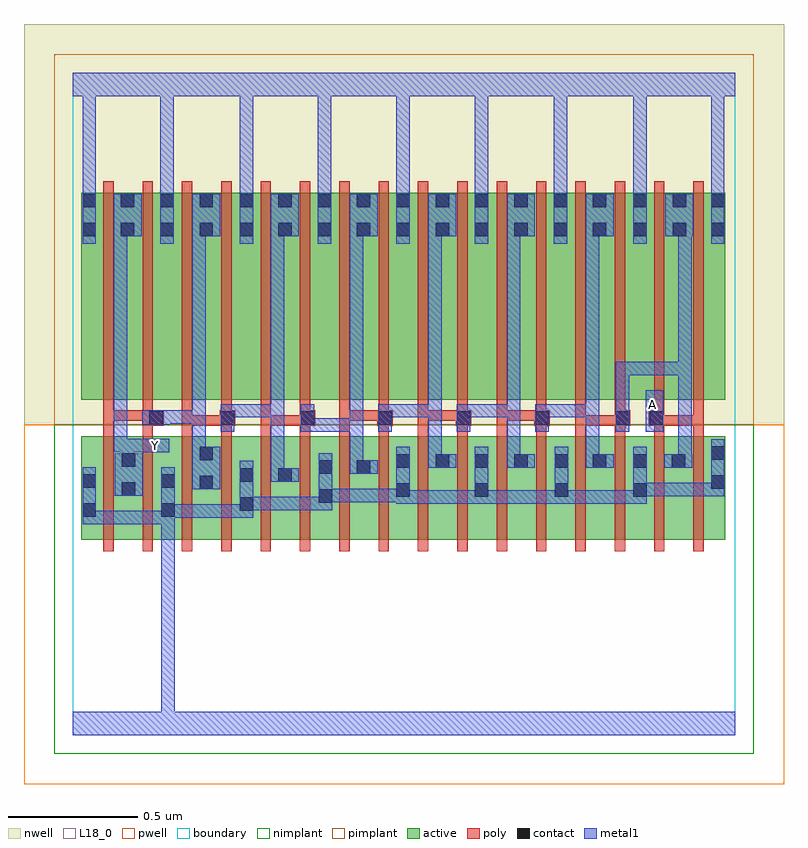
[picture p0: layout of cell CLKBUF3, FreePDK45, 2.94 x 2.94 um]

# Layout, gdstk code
import gdstk
lib = gdstk.Library(unit=1e-6, precision=1e-09)
def R(c, l, rs):  # rectangles x0, y0, x1, y1
    for r in rs: c.add(gdstk.rectangle(r[:2], r[2:], *l))
def A(c, l, x, y, w, h, nx, ny, dx, dy):  # array of equal rectangles
    R(c, l, [(x+i*dx, y+j*dy, x+i*dx+w, y+j*dy+h) for i in range(nx) for j in range(ny)])
active = (1, 0)
pwell = (2, 0)
nwell = (3, 0)
nimplant = (4, 0)
pimplant = (5, 0)
poly = (9, 0)
contact = (10, 0)
metal1 = (11, 0)
L18_0 = (18, 0)
boundary = (235, 0)

clkbuf3 = lib.new_cell('CLKBUF3')
A(clkbuf3, active, 0.034, 0.756, 0.06, 0.4, 3, 1, 0.152, 0)
A(clkbuf3, active, 0.338, 0.756, 0.208, 0.4, 3, 1, 0.304, 0)
A(clkbuf3, active, 1.094, 0.756, 0.06, 0.4, 5, 1, 0.152, 0)
A(clkbuf3, active, 1.094, 0.756, 0.212, 0.4, 4, 1, 0.152, 0)
A(clkbuf3, active, 0.79, 1.296, 0.212, 0.8, 8, 1, 0.152, 0)
A(clkbuf3, active, 0.182, 1.686, 0.06, 0.41, 3, 1, 0.152, 0)
A(clkbuf3, active, 0.79, 1.686, 0.06, 0.41, 9, 1, 0.152, 0)
R(clkbuf3, active, [(0.034,0.756,0.246,1.156), (0.186,0.756,0.398,1.156), (0.486,0.756,0.546,1.156), (0.486,0.756,0.702,1.156), (0.642,0.756,0.702,1.156), (0.79,0.756,0.85,1.156), (0.79,0.756,1.006,1.156), (0.946,0.756,1.006,1.156), (1.702,0.756,1.918,1.156), (1.858,0.756,1.918,1.156), (1.858,0.756,2.066,1.156), (2.006,0.756,2.066,1.156), (2.006,0.756,2.222,1.156), (2.162,0.756,2.222,1.156), (2.162,0.756,2.37,1.156), (2.31,0.756,2.37,1.156), (2.31,0.756,2.522,1.156), (2.462,0.756,2.522,1.156), (0.034,1.296,0.094,2.096), (0.034,1.296,0.242,2.096), (0.182,1.296,0.394,2.096), (0.334,1.296,0.546,2.096), (0.486,1.296,0.702,2.096), (0.642,1.296,0.85,2.096), (2.006,1.296,2.222,2.096), (2.162,1.296,2.374,2.096), (2.314,1.296,2.522,2.096), (2.462,1.296,2.522,2.096), (0.642,1.686,0.702,2.096), (2.162,1.686,2.222,2.096), (2.314,1.686,2.374,2.096)])
R(clkbuf3, pwell, [(-0.188,-0.188,2.748,1.2)])
R(clkbuf3, nwell, [(-0.188,1.2,2.748,2.748)])
R(clkbuf3, nimplant, [(-0.072,-0.072,2.632,1.2)])
R(clkbuf3, pimplant, [(-0.072,1.2,2.632,2.632)])
A(clkbuf3, poly, 0.118, 0.712, 0.04, 0.488, 16, 1, 0.152, 0)
A(clkbuf3, poly, 0.27, 1.16, 0.04, 0.076, 5, 1, 0.152, 0)
A(clkbuf3, poly, 1.03, 1.16, 0.04, 0.096, 3, 1, 0.304, 0)
A(clkbuf3, poly, 1.182, 1.16, 0.04, 0.076, 3, 1, 0.304, 0)
A(clkbuf3, poly, 1.942, 1.16, 0.04, 0.076, 4, 1, 0.152, 0)
A(clkbuf3, poly, 1.176, 1.196, 0.06, 0.06, 3, 1, 0.304, 0)
A(clkbuf3, poly, 0.27, 1.216, 0.04, 0.076, 3, 1, 0.304, 0)
A(clkbuf3, poly, 1.03, 1.216, 0.04, 0.076, 6, 1, 0.152, 0)
A(clkbuf3, poly, 1.03, 1.216, 0.186, 0.04, 3, 1, 0.304, 0)
A(clkbuf3, poly, 0.118, 1.252, 0.04, 0.888, 16, 1, 0.152, 0)
R(clkbuf3, poly, [(0.118,1.16,0.158,1.256), (0.27,1.196,0.31,1.236), (0.27,1.196,0.31,1.236), (0.27,1.196,0.352,1.256), (0.422,1.196,0.462,1.292), (0.422,1.196,0.462,1.236), (0.422,1.196,0.462,1.236), (0.422,1.196,0.462,1.236), (0.422,1.196,0.462,1.236), (0.422,1.196,0.462,1.236), (0.422,1.196,0.608,1.236), (0.568,1.196,0.628,1.256), (0.726,1.196,0.766,1.292), (0.726,1.196,0.766,1.236), (0.726,1.196,0.766,1.236), (0.726,1.196,0.766,1.236), (0.726,1.196,0.766,1.236), (0.726,1.196,0.766,1.236), (0.726,1.196,0.918,1.236), (0.878,1.196,0.918,1.236), (0.878,1.196,0.918,1.236), (0.878,1.196,0.938,1.256), (1.942,1.196,1.982,1.292), (1.942,1.196,1.982,1.236), (1.942,1.196,1.982,1.236), (1.942,1.196,1.982,1.236), (1.942,1.196,2.134,1.236), (2.094,1.196,2.134,1.236), (2.094,1.196,2.134,1.236), (2.094,1.196,2.134,1.236), (2.094,1.196,2.134,1.236), (2.094,1.196,2.154,1.256), (2.226,1.196,2.286,1.256), (2.246,1.196,2.286,1.236), (2.246,1.196,2.286,1.236), (2.246,1.196,2.438,1.236), (2.398,1.196,2.438,1.292), (2.398,1.196,2.438,1.236), (2.398,1.196,2.438,1.236), (2.398,1.196,2.438,1.236), (0.118,1.216,0.158,1.256), (0.118,1.216,0.158,1.256), (0.118,1.216,0.158,1.256), (0.118,1.216,0.158,1.256), (0.118,1.216,0.158,1.256), (0.118,1.216,0.158,1.292), (0.118,1.216,0.31,1.256), (0.574,1.216,0.614,1.256), (0.574,1.216,0.614,1.256), (1.03,1.216,1.07,1.256), (1.03,1.216,1.07,1.256), (1.03,1.216,1.07,1.256), (1.176,1.216,1.216,1.256), (1.176,1.216,1.216,1.256), (1.182,1.216,1.222,1.256), (1.182,1.216,1.222,1.256), (1.334,1.216,1.374,1.256), (1.334,1.216,1.374,1.256), (1.334,1.216,1.374,1.256), (1.334,1.216,1.374,1.256), (1.334,1.216,1.374,1.256), (1.486,1.216,1.526,1.256), (1.486,1.216,1.526,1.256), (1.638,1.216,1.678,1.256), (1.638,1.216,1.678,1.256), (1.638,1.216,1.678,1.256), (1.784,1.216,1.824,1.256), (1.784,1.216,1.824,1.256), (1.79,1.216,1.83,1.256), (1.79,1.216,1.83,1.256), (2.094,1.216,2.134,1.292), (2.246,1.216,2.286,1.256), (2.246,1.216,2.286,1.256), (2.246,1.216,2.286,1.292)])
A(clkbuf3, contact, 1.25, 1.034, 0.052, 0.052, 4, 1, 0.152, 0)
A(clkbuf3, contact, 1.18, 1.2, 0.052, 0.052, 3, 1, 0.304, 0)
A(clkbuf3, contact, 0.186, 1.928, 0.052, 0.052, 3, 2, 0.152, 0.112)
A(clkbuf3, contact, 0.794, 1.928, 0.052, 0.052, 9, 2, 0.152, 0.112)
R(clkbuf3, contact, [(0.038,0.844,0.09,0.896), (0.342,0.844,0.394,0.896), (0.646,0.868,0.698,0.92), (0.95,0.898,1.002,0.95), (1.25,0.922,1.302,0.974), (1.554,0.922,1.606,0.974), (1.862,0.922,1.914,0.974), (2.166,0.922,2.218,0.974), (0.19,0.926,0.242,0.978), (0.49,0.95,0.542,1.002), (2.466,0.952,2.518,1.004), (0.038,0.956,0.09,1.008), (0.342,0.956,0.394,1.008), (0.646,0.98,0.698,1.032), (0.794,0.98,0.846,1.032), (0.95,1.01,1.002,1.062), (1.098,1.01,1.15,1.062), (1.862,1.034,1.914,1.086), (2.01,1.034,2.062,1.086), (2.166,1.034,2.218,1.086), (2.314,1.034,2.366,1.086), (0.19,1.038,0.242,1.09), (0.49,1.062,0.542,1.114), (2.466,1.064,2.518,1.116), (0.296,1.2,0.348,1.252), (0.572,1.2,0.624,1.252), (0.882,1.2,0.934,1.252), (2.098,1.2,2.15,1.252), (2.23,1.2,2.282,1.252), (0.038,1.928,0.09,1.98), (0.646,1.928,0.698,1.98), (2.166,1.928,2.218,1.98), (2.318,1.928,2.37,1.98), (2.466,1.928,2.518,1.98), (0.038,2.04,0.09,2.092), (0.646,2.04,0.698,2.092), (2.166,2.04,2.218,2.092), (2.318,2.04,2.37,2.092), (2.466,2.04,2.518,2.092)])
A(clkbuf3, metal1, 1.374, 1.034, 0.108, 0.052, 4, 1, 0.304, 0)
A(clkbuf3, metal1, 1.374, 1.034, 0.052, 0.246, 3, 1, 0.304, 0)
A(clkbuf3, metal1, 1.18, 1.172, 0.052, 0.108, 3, 1, 0.304, 0)
A(clkbuf3, metal1, 1.18, 1.228, 0.246, 0.052, 3, 1, 0.304, 0)
A(clkbuf3, metal1, 1.374, 1.228, 0.052, 0.752, 3, 1, 0.304, 0)
A(clkbuf3, metal1, 0.946, 1.9, 0.052, 0.22, 4, 1, 0.304, 0)
A(clkbuf3, metal1, 0.158, 1.928, 0.108, 0.164, 7, 1, 0.304, 0)
A(clkbuf3, metal1, 0.946, 2.068, 0.052, 0.452, 4, 1, 0.304, 0)
R(clkbuf3, metal1, [(0,0,2.56,0.092), (0.342,0.04,0.394,0.092), (0.342,0.04,0.394,0.092), (0.342,0.04,0.394,0.092), (0.342,0.04,0.394,0.092), (0.342,0.04,0.394,0.092), (0.342,0.04,0.394,0.092), (0.342,0.04,0.394,0.092), (0.342,0.04,0.394,0.092), (0.342,0.04,0.394,0.092), (0.342,0.04,0.394,0.092), (0.342,0.04,0.394,0.092), (0.342,0.04,0.394,0.092), (0.342,0.04,0.394,0.868), (0.038,0.816,0.09,0.868), (0.038,0.816,0.09,0.868), (0.038,0.816,0.09,1.036), (0.038,0.816,0.2,0.868), (0.148,0.816,0.2,0.868), (0.148,0.816,0.2,0.868), (0.148,0.816,0.2,0.868), (0.148,0.816,0.394,0.868), (0.342,0.816,0.394,1.036), (0.342,0.84,0.504,0.892), (0.452,0.84,0.504,0.892), (0.452,0.84,0.504,0.892), (0.452,0.84,0.504,0.892), (0.452,0.84,0.698,0.892), (0.646,0.84,0.698,0.892), (0.646,0.84,0.698,0.892), (0.646,0.84,0.698,1.06), (0.646,0.87,0.808,0.922), (0.756,0.87,0.808,0.922), (0.756,0.87,0.808,0.922), (0.756,0.87,0.808,0.922), (0.756,0.87,1.002,0.922), (0.95,0.87,1.002,0.922), (0.95,0.87,1.002,0.922), (0.95,0.87,1.002,1.09), (1.25,0.894,1.302,1.114), (1.25,0.894,1.412,0.946), (1.36,0.894,1.412,0.946), (1.36,0.894,1.412,0.946), (1.36,0.894,1.412,0.946), (1.36,0.894,1.606,0.946), (1.554,0.894,1.606,0.946), (1.554,0.894,1.606,0.946), (1.554,0.894,1.606,1.114), (1.554,0.894,1.73,0.946), (1.678,0.894,1.73,0.946), (1.678,0.894,1.73,0.946), (1.678,0.894,1.73,0.946), (1.678,0.894,1.914,0.946), (1.862,0.894,1.914,0.946), (1.862,0.894,1.914,0.946), (1.862,0.894,1.914,1.114), (1.862,0.894,2.024,0.946), (1.972,0.894,2.024,0.946), (1.972,0.894,2.024,0.946), (1.972,0.894,2.024,0.946), (1.972,0.894,2.156,0.946), (2.104,0.894,2.156,0.946), (2.104,0.894,2.218,0.946), (2.166,0.894,2.218,1.114), (0.95,0.9,1.112,0.952), (1.06,0.9,1.112,0.952), (1.06,0.9,1.112,0.952), (1.06,0.9,1.112,0.952), (1.06,0.9,1.302,0.952), (1.25,0.9,1.302,0.952), (1.25,0.9,1.302,0.952), (2.166,0.924,2.408,0.976), (2.356,0.924,2.408,0.976), (2.356,0.924,2.408,0.976), (2.356,0.924,2.408,0.976), (2.356,0.924,2.518,0.976), (2.466,0.924,2.518,0.976), (2.466,0.924,2.518,0.976), (2.466,0.924,2.518,1.144), (0.162,0.926,0.27,1.09), (0.462,0.95,0.57,1.114), (0.766,0.98,0.874,1.032), (0.766,0.98,0.818,1.28), (1.07,1.01,1.122,1.062), (1.07,1.01,1.122,1.062), (1.07,1.01,1.178,1.062), (1.07,1.01,1.122,1.224), (2.34,1.034,2.392,1.086), (2.34,1.034,2.392,1.086), (2.34,1.034,2.392,1.444), (0.184,1.038,0.236,1.146), (0.462,1.062,0.514,1.256), (0.158,1.094,0.21,1.146), (0.158,1.094,0.21,1.146), (0.158,1.094,0.21,1.98), (0.158,1.094,0.374,1.146), (0.572,1.172,0.624,1.28), (0.882,1.172,0.934,1.224), (0.882,1.172,0.934,1.224), (0.882,1.172,0.934,1.28), (0.882,1.172,1.122,1.224), (1.07,1.172,1.122,1.224), (1.07,1.172,1.122,1.224), (1.07,1.172,1.122,1.224), (1.07,1.172,1.122,1.98), (2.098,1.172,2.15,1.28), (2.214,1.172,2.282,1.334), (0.268,1.2,0.376,1.256), (0.324,1.204,0.376,1.256), (0.324,1.204,0.376,1.256), (0.324,1.204,0.514,1.256), (0.462,1.204,0.514,1.256), (0.462,1.204,0.514,1.256), (0.462,1.204,0.514,1.256), (0.462,1.204,0.514,1.256), (0.462,1.204,0.514,1.256), (0.462,1.204,0.514,1.98), (0.572,1.228,0.624,1.28), (0.572,1.228,0.624,1.28), (0.572,1.228,0.818,1.28), (0.766,1.228,0.818,1.28), (0.766,1.228,0.818,1.28), (0.766,1.228,0.818,1.28), (0.766,1.228,0.818,1.28), (0.766,1.228,0.818,1.28), (0.766,1.228,0.818,1.98), (1.18,1.228,1.232,1.28), (1.18,1.228,1.232,1.28), (1.374,1.228,1.426,1.28), (1.374,1.228,1.426,1.28), (1.374,1.228,1.426,1.28), (1.374,1.228,1.426,1.28), (1.374,1.228,1.426,1.28), (1.484,1.228,1.536,1.28), (1.484,1.228,1.536,1.28), (1.678,1.228,1.73,1.28), (1.678,1.228,1.73,1.28), (1.678,1.228,1.73,1.28), (1.678,1.228,1.73,1.28), (1.678,1.228,1.73,1.28), (1.788,1.228,1.84,1.28), (1.788,1.228,1.84,1.28), (1.982,1.228,2.034,1.28), (1.982,1.228,2.034,1.28), (1.982,1.228,2.034,1.28), (2.098,1.228,2.15,1.28), (2.098,1.228,2.15,1.444), (2.098,1.392,2.392,1.444), (2.34,1.392,2.392,1.444), (2.34,1.392,2.392,1.444), (2.34,1.392,2.392,1.444), (2.34,1.392,2.392,1.98), (0.038,1.9,0.09,2.12), (0.338,1.9,0.39,2.12), (0.646,1.9,0.698,2.12), (2.166,1.9,2.218,2.12), (2.466,1.9,2.518,2.12), (1.982,1.928,2.034,1.98), (1.982,1.928,2.034,1.98), (2.29,1.928,2.398,2.092), (0.038,2.068,0.09,2.12), (0.038,2.068,0.09,2.12), (0.038,2.068,0.09,2.52), (0.338,2.068,0.39,2.12), (0.338,2.068,0.39,2.12), (0.338,2.068,0.39,2.52), (0.646,2.068,0.698,2.12), (0.646,2.068,0.698,2.12), (0.646,2.068,0.698,2.52), (2.166,2.068,2.218,2.12), (2.166,2.068,2.218,2.12), (2.166,2.068,2.218,2.12), (2.166,2.068,2.218,2.12), (2.166,2.068,2.218,2.52), (2.466,2.068,2.518,2.12), (2.466,2.068,2.518,2.12), (2.466,2.068,2.518,2.52), (0,2.468,2.56,2.56), (0.038,2.468,0.09,2.52), (0.038,2.468,0.09,2.52), (0.038,2.468,0.09,2.52), (0.038,2.468,0.09,2.52), (0.038,2.468,0.09,2.52), (0.038,2.468,0.09,2.52), (0.338,2.468,0.39,2.52), (0.338,2.468,0.39,2.52), (0.338,2.468,0.39,2.52), (0.338,2.468,0.39,2.52), (0.338,2.468,0.39,2.52), (0.338,2.468,0.39,2.52), (0.646,2.468,0.698,2.52), (0.646,2.468,0.698,2.52), (0.646,2.468,0.698,2.52), (0.646,2.468,0.698,2.52), (0.646,2.468,0.698,2.52), (0.646,2.468,0.698,2.52), (0.946,2.468,0.998,2.52), (0.946,2.468,0.998,2.52), (0.946,2.468,0.998,2.52), (0.946,2.468,0.998,2.52), (0.946,2.468,0.998,2.52), (0.946,2.468,0.998,2.52), (0.946,2.468,0.998,2.52), (0.946,2.468,0.998,2.52), (1.25,2.468,1.302,2.52), (1.25,2.468,1.302,2.52), (1.25,2.468,1.302,2.52), (1.25,2.468,1.302,2.52), (1.25,2.468,1.302,2.52), (1.25,2.468,1.302,2.52), (1.25,2.468,1.302,2.52), (1.25,2.468,1.302,2.52), (1.554,2.468,1.606,2.52), (1.554,2.468,1.606,2.52), (1.554,2.468,1.606,2.52), (1.554,2.468,1.606,2.52), (1.554,2.468,1.606,2.52), (1.554,2.468,1.606,2.52), (1.554,2.468,1.606,2.52), (1.554,2.468,1.606,2.52), (1.858,2.468,1.91,2.52), (1.858,2.468,1.91,2.52), (1.858,2.468,1.91,2.52), (1.858,2.468,1.91,2.52), (1.858,2.468,1.91,2.52), (1.858,2.468,1.91,2.52), (1.858,2.468,1.91,2.52), (1.858,2.468,1.91,2.52), (2.166,2.468,2.218,2.52), (2.166,2.468,2.218,2.52), (2.166,2.468,2.218,2.52), (2.166,2.468,2.218,2.52), (2.466,2.468,2.518,2.52), (2.466,2.468,2.518,2.52), (2.466,2.468,2.518,2.52), (2.466,2.468,2.518,2.52), (2.466,2.468,2.518,2.52), (2.466,2.468,2.518,2.52)])
A(clkbuf3, L18_0, 0.946, 1.9, 0.052, 0.22, 4, 1, 0.304, 0)
A(clkbuf3, L18_0, 0.946, 2.068, 0.052, 0.452, 4, 1, 0.304, 0)
R(clkbuf3, L18_0, [(0,0,2.56,0.092), (0.342,0.04,0.394,0.092), (0.342,0.04,0.394,0.092), (0.342,0.04,0.394,0.092), (0.342,0.04,0.394,0.092), (0.342,0.04,0.394,0.092), (0.342,0.04,0.394,0.092), (0.342,0.04,0.394,0.092), (0.342,0.04,0.394,0.092), (0.342,0.04,0.394,0.092), (0.342,0.04,0.394,0.092), (0.342,0.04,0.394,0.092), (0.342,0.04,0.394,0.092), (0.342,0.04,0.394,0.868), (0.038,0.816,0.09,1.036), (0.038,0.816,0.09,0.868), (0.038,0.816,0.09,0.868), (0.038,0.816,0.2,0.868), (0.148,0.816,0.2,0.868), (0.148,0.816,0.2,0.868), (0.148,0.816,0.2,0.868), (0.148,0.816,0.394,0.868), (0.342,0.816,0.394,1.036), (0.342,0.84,0.504,0.892), (0.452,0.84,0.504,0.892), (0.452,0.84,0.504,0.892), (0.452,0.84,0.504,0.892), (0.452,0.84,0.698,0.892), (0.646,0.84,0.698,1.06), (0.646,0.84,0.698,0.892), (0.646,0.84,0.698,0.892), (0.646,0.87,0.808,0.922), (0.756,0.87,0.808,0.922), (0.756,0.87,0.808,0.922), (0.756,0.87,0.808,0.922), (0.756,0.87,1.002,0.922), (0.95,0.87,1.002,1.09), (0.95,0.87,1.002,0.922), (0.95,0.87,1.002,0.922), (1.25,0.894,1.302,1.114), (1.25,0.894,1.412,0.946), (1.36,0.894,1.412,0.946), (1.36,0.894,1.412,0.946), (1.36,0.894,1.412,0.946), (1.36,0.894,1.606,0.946), (1.554,0.894,1.606,1.114), (1.554,0.894,1.606,0.946), (1.554,0.894,1.606,0.946), (1.554,0.894,1.73,0.946), (1.678,0.894,1.73,0.946), (1.678,0.894,1.73,0.946), (1.678,0.894,1.73,0.946), (1.678,0.894,1.914,0.946), (1.862,0.894,1.914,1.114), (1.862,0.894,1.914,0.946), (1.862,0.894,1.914,0.946), (1.862,0.894,2.024,0.946), (1.972,0.894,2.024,0.946), (1.972,0.894,2.024,0.946), (1.972,0.894,2.024,0.946), (1.972,0.894,2.156,0.946), (2.104,0.894,2.156,0.946), (2.104,0.894,2.218,0.946), (2.166,0.894,2.218,1.114), (0.95,0.9,1.112,0.952), (1.06,0.9,1.112,0.952), (1.06,0.9,1.112,0.952), (1.06,0.9,1.112,0.952), (1.06,0.9,1.302,0.952), (1.25,0.9,1.302,0.952), (1.25,0.9,1.302,0.952), (2.166,0.924,2.408,0.976), (2.356,0.924,2.408,0.976), (2.356,0.924,2.408,0.976), (2.356,0.924,2.408,0.976), (2.356,0.924,2.518,0.976), (2.466,0.924,2.518,1.144), (2.466,0.924,2.518,0.976), (2.466,0.924,2.518,0.976), (0.162,0.926,0.27,1.09), (0.184,1.038,0.236,1.146), (0.158,1.094,0.21,1.146), (0.158,1.094,0.21,1.146), (0.158,1.094,0.374,1.146), (0.158,1.094,0.21,1.98), (0.294,1.094,0.346,1.146), (2.214,1.172,2.282,1.334), (2.214,1.254,2.266,1.306), (0.038,1.9,0.09,2.12), (0.338,1.9,0.39,2.12), (0.646,1.9,0.698,2.12), (2.166,1.9,2.218,2.12), (2.466,1.9,2.518,2.12), (0.158,1.928,0.266,2.092), (0.038,2.068,0.09,2.12), (0.038,2.068,0.09,2.12), (0.038,2.068,0.09,2.52), (0.338,2.068,0.39,2.12), (0.338,2.068,0.39,2.12), (0.338,2.068,0.39,2.52), (0.646,2.068,0.698,2.12), (0.646,2.068,0.698,2.12), (0.646,2.068,0.698,2.52), (2.166,2.068,2.218,2.12), (2.166,2.068,2.218,2.12), (2.166,2.068,2.218,2.12), (2.166,2.068,2.218,2.12), (2.166,2.068,2.218,2.52), (2.466,2.068,2.518,2.12), (2.466,2.068,2.518,2.12), (2.466,2.068,2.518,2.52), (0,2.468,2.56,2.56), (0.038,2.468,0.09,2.52), (0.038,2.468,0.09,2.52), (0.038,2.468,0.09,2.52), (0.038,2.468,0.09,2.52), (0.038,2.468,0.09,2.52), (0.038,2.468,0.09,2.52), (0.338,2.468,0.39,2.52), (0.338,2.468,0.39,2.52), (0.338,2.468,0.39,2.52), (0.338,2.468,0.39,2.52), (0.338,2.468,0.39,2.52), (0.338,2.468,0.39,2.52), (0.646,2.468,0.698,2.52), (0.646,2.468,0.698,2.52), (0.646,2.468,0.698,2.52), (0.646,2.468,0.698,2.52), (0.646,2.468,0.698,2.52), (0.646,2.468,0.698,2.52), (0.946,2.468,0.998,2.52), (0.946,2.468,0.998,2.52), (0.946,2.468,0.998,2.52), (0.946,2.468,0.998,2.52), (0.946,2.468,0.998,2.52), (0.946,2.468,0.998,2.52), (0.946,2.468,0.998,2.52), (0.946,2.468,0.998,2.52), (1.25,2.468,1.302,2.52), (1.25,2.468,1.302,2.52), (1.25,2.468,1.302,2.52), (1.25,2.468,1.302,2.52), (1.25,2.468,1.302,2.52), (1.25,2.468,1.302,2.52), (1.25,2.468,1.302,2.52), (1.25,2.468,1.302,2.52), (1.554,2.468,1.606,2.52), (1.554,2.468,1.606,2.52), (1.554,2.468,1.606,2.52), (1.554,2.468,1.606,2.52), (1.554,2.468,1.606,2.52), (1.554,2.468,1.606,2.52), (1.554,2.468,1.606,2.52), (1.554,2.468,1.606,2.52), (1.858,2.468,1.91,2.52), (1.858,2.468,1.91,2.52), (1.858,2.468,1.91,2.52), (1.858,2.468,1.91,2.52), (1.858,2.468,1.91,2.52), (1.858,2.468,1.91,2.52), (1.858,2.468,1.91,2.52), (1.858,2.468,1.91,2.52), (2.166,2.468,2.218,2.52), (2.166,2.468,2.218,2.52), (2.166,2.468,2.218,2.52), (2.166,2.468,2.218,2.52), (2.466,2.468,2.518,2.52), (2.466,2.468,2.518,2.52), (2.466,2.468,2.518,2.52), (2.466,2.468,2.518,2.52), (2.466,2.468,2.518,2.52), (2.466,2.468,2.518,2.52)])
R(clkbuf3, boundary, [(0,0,2.56,2.56)])
clkbuf3.add(gdstk.Label('A', (2.24,1.28), layer=11, texttype=0))
clkbuf3.add(gdstk.Label('Y', (0.32,1.12), layer=11, texttype=0))

lib.write_gds('CLKBUF3.gds')
